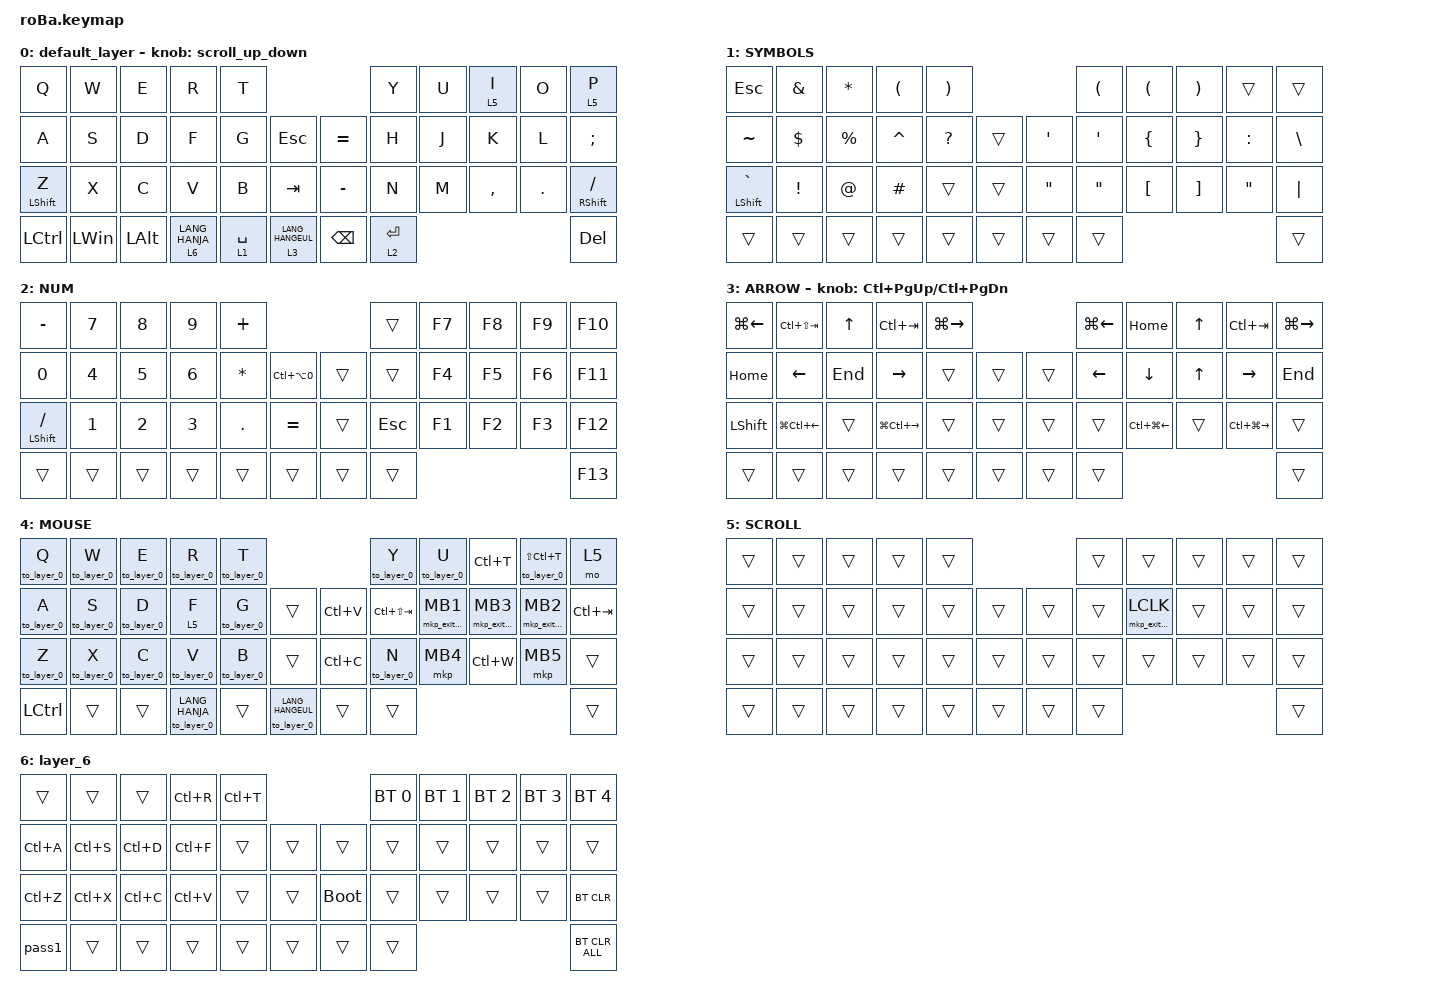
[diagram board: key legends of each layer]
#include <behaviors.dtsi>
#include <dt-bindings/zmk/bt.h>
#include <dt-bindings/zmk/keys.h>
#include <dt-bindings/zmk/pointing.h>

#define ZMK_POINTING_DEFAULT_SCRL_VAL 100
#define MOUSE 4
#define SCROLL 5
#define NUM 6

&mt {
    flavor = "hold-preferred";
    quick-tap-ms = <0>;
};

&sl { release-after-ms = <250>; };

/ {
    combos {
        compatible = "zmk,combos";

        BT0 {
            bindings = <&bt BT_SEL 0>;
            key-positions = <28 22>;
        };

        BT1 {
            bindings = <&bt BT_SEL 1>;
            key-positions = <28 23>;
        };

        BT2 {
            bindings = <&bt BT_SEL 2>;
            key-positions = <28 24>;
        };

        BT3 {
            bindings = <&none>;
            key-positions = <28 25>;
        };
    };

    macros {
        to_layer_0: to_layer_0 {
            compatible = "zmk,behavior-macro-one-param";
            #binding-cells = <1>;
            bindings = <&to 0 &macro_param_1to1 &kp MACRO_PLACEHOLDER>;
            label = "TO_LAYER_0";
        };

        mkp_exit_AML: mkp_exit_AML {
            compatible = "zmk,behavior-macro-one-param";
            #binding-cells = <1>;
            bindings =
                <&macro_press>,
                <&macro_param_1to1 &mkp MACRO_PLACEHOLDER>,
                <&macro_pause_for_release>,
                <&macro_release>,
                <&macro_param_1to1 &mkp MACRO_PLACEHOLDER>,
                <&macro_tap>,
                <&sl 4>;

            label = "MKP_EXIT_AML";
        };

        parenthesis: parenthesis {
            compatible = "zmk,behavior-macro";
            #binding-cells = <0>;
            bindings = <&kp LANG_HANJA &kp LEFT_PARENTHESIS &kp RIGHT_PARENTHESIS &kp LEFT_ARROW>;
            label = "parenthesis";
        };

        pass1: pass1 {
            compatible = "zmk,behavior-macro";
            #binding-cells = <0>;
            bindings = <&kp N8 &kp U &kp H &kp S &kp N9 &kp R &kp S &kp M &kp LS(U) &kp LS(K) &kp N9 &kp N8>;
            label = "PASS1";
        };
    };

    behaviors {
        scroll_up_down: behavior_sensor_rotate_mouse_wheel_up_down {
            compatible = "zmk,behavior-sensor-rotate";
            #sensor-binding-cells = <0>;
            bindings = <&msc SCRL_DOWN>, <&msc SCRL_UP>;

            // 追加: スクロールのタップ時間を設定 (20ms)

            tap-ms = <20>;
        };

        multi_tap_tab_bspc: behavior_multi_tap {
            label = "MT_TAB_BSPC";
            #binding-cells = <0>;
            bindings = <&kp TAB>, <&kp BSPC>;

            max-taps = <2>;
            max-tap-interrupt-ms = <250>;
        };
    };

    keymap {
        compatible = "zmk,keymap";

        default_layer {
            bindings = <
&kp Q             &kp W         &kp E         &kp R             &kp T                                               &kp Y        &kp U  &lt 5 I    &kp O    &lt 5 P
&kp A             &kp S         &kp D         &kp F             &kp G        &kp ESCAPE              &kp EQUAL      &kp H        &kp J  &kp K      &kp L    &kp SEMICOLON
&mt LEFT_SHIFT Z  &kp X         &kp C         &kp V             &kp B        &kp TAB                 &kp MINUS      &kp N        &kp M  &kp COMMA  &kp DOT  &mt RIGHT_SHIFT SLASH
&kp LCTRL         &kp LEFT_WIN  &kp LEFT_ALT  &lt 6 LANG_HANJA  &lt 1 SPACE  &lt 3 LANG_HANGEUL      &kp BACKSPACE  &lt 2 ENTER                             &kp DEL
            >;

            sensor-bindings = <&scroll_up_down>;
        };

        SYMBOLS {
            bindings = <
&kp ESCAPE       &kp AMPERSAND    &kp ASTERISK  &kp LEFT_PARENTHESIS  &kp RIGHT_PARENTHESIS                                 &kp LEFT_PARENTHESIS  &kp LEFT_PARENTHESIS  &kp RIGHT_PARENTHESIS  &trans             &trans
&kp TILDE        &kp DOLLAR       &kp PERCENT   &kp CARET             &kp QUESTION           &trans      &kp SINGLE_QUOTE   &kp SINGLE_QUOTE      &kp LEFT_BRACE        &kp RIGHT_BRACE        &kp COLON          &kp BACKSLASH
&mt LSHFT GRAVE  &kp EXCLAMATION  &kp AT_SIGN   &kp HASH              &trans                 &trans      &kp DOUBLE_QUOTES  &kp DOUBLE_QUOTES     &kp LEFT_BRACKET      &kp RIGHT_BRACKET      &kp DOUBLE_QUOTES  &kp PIPE
&trans           &trans           &trans        &trans                &trans                 &trans      &trans             &trans                                                                                &trans
            >;
        };

        NUM {
            bindings = <
&kp MINUS             &kp N7  &kp N8  &kp N9  &kp PLUS                                  &trans      &kp F7  &kp F8  &kp F9  &kp F10
&kp N0                &kp N4  &kp N5  &kp N6  &kp ASTERISK  &kp LC(LA(N0))      &trans  &trans      &kp F4  &kp F5  &kp F6  &kp F11
&mt LEFT_SHIFT SLASH  &kp N1  &kp N2  &kp N3  &kp PERIOD    &kp EQUAL           &trans  &kp ESCAPE  &kp F1  &kp F2  &kp F3  &kp F12
&trans                &trans  &trans  &trans  &trans        &trans              &trans  &trans                              &kp F13
            >;
        };

        ARROW {
            bindings = <
&kp LG(LEFT_ARROW)  &kp LC(LS(TAB))         &kp UP_ARROW  &kp LC(TAB)              &kp LG(RIGHT_ARROW)                      &kp LG(LEFT_ARROW)  &kp HOME                &kp UP_ARROW  &kp LC(TAB)              &kp LG(RIGHT_ARROW)
&kp HOME            &kp LEFT_ARROW          &kp END       &kp RIGHT_ARROW          &trans               &trans      &trans  &kp LEFT            &kp DOWN_ARROW          &kp UP_ARROW  &kp RIGHT_ARROW          &kp END
&kp LEFT_SHIFT      &kp LG(LC(LEFT_ARROW))  &trans        &kp LG(LC(RIGHT_ARROW))  &trans               &trans      &trans  &trans              &kp LC(LG(LEFT_ARROW))  &trans        &kp LC(LG(RIGHT_ARROW))  &trans
&trans              &trans                  &trans        &trans                   &trans               &trans      &trans  &trans                                                                             &trans
            >;

            sensor-bindings = <&inc_dec_kp LC(PAGE_UP) LC(PAGE_DOWN)>;
        };

        MOUSE {
            bindings = <
&to_layer_0 Q  &to_layer_0 W  &to_layer_0 E  &to_layer_0 R           &to_layer_0 T                                           &to_layer_0 Y    &to_layer_0 U      &kp LC(T)          &to_layer_0 LS(LC(T))  &mo 5
&to_layer_0 A  &to_layer_0 S  &to_layer_0 D  &lt 5 F                 &to_layer_0 G  &trans                        &kp LC(V)  &kp LC(LS(TAB))  &mkp_exit_AML MB1  &mkp_exit_AML MB3  &mkp_exit_AML MB2      &kp LC(TAB)
&to_layer_0 Z  &to_layer_0 X  &to_layer_0 C  &to_layer_0 V           &to_layer_0 B  &trans                        &kp LC(C)  &to_layer_0 N    &mkp MB4           &kp LC(W)          &mkp MB5               &trans
&kp LCTRL      &trans         &trans         &to_layer_0 LANG_HANJA  &trans         &to_layer_0 LANG_HANGEUL      &trans     &trans                                                                        &trans
            >;
        };

        SCROLL {
            bindings = <
&trans  &trans  &trans  &trans  &trans                      &trans  &trans              &trans  &trans  &trans
&trans  &trans  &trans  &trans  &trans  &trans      &trans  &trans  &mkp_exit_AML LCLK  &trans  &trans  &trans
&trans  &trans  &trans  &trans  &trans  &trans      &trans  &trans  &trans              &trans  &trans  &trans
&trans  &trans  &trans  &trans  &trans  &trans      &trans  &trans                                      &trans
            >;
        };

        layer_6 {
            bindings = <
&trans     &trans     &trans     &kp LC(R)  &kp LC(T)                           &bt BT_SEL 0  &bt BT_SEL 1  &bt BT_SEL 2  &bt BT_SEL 3  &bt BT_SEL 4
&kp LC(A)  &kp LC(S)  &kp LC(D)  &kp LC(F)  &trans     &trans      &trans       &trans        &trans        &trans        &trans        &trans
&kp LC(Z)  &kp LC(X)  &kp LC(C)  &kp LC(V)  &trans     &trans      &bootloader  &trans        &trans        &trans        &trans        &bt BT_CLR
&pass1     &trans     &trans     &trans     &trans     &trans      &trans       &trans                                                  &bt BT_CLR_ALL
            >;
        };
    };
};
